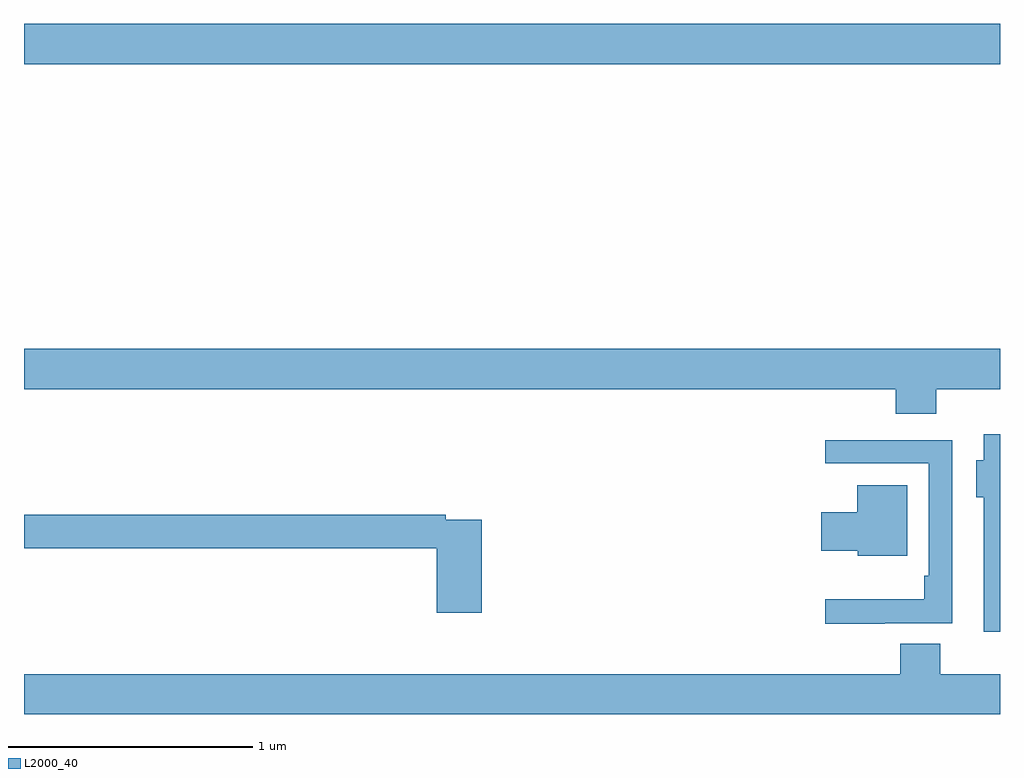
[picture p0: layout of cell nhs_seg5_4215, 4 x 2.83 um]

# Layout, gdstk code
import gdstk
lib = gdstk.Library(unit=1e-6, precision=1e-09)
def R(c, l, rs):  # rectangles x0, y0, x1, y1
    for r in rs: c.add(gdstk.rectangle(r[:2], r[2:], *l))
def P(c, l, *ps):  # polygons
    for p in ps: c.add(gdstk.Polygon(p, *l))
L2000_40 = (2000, 40)

nhs_seg5_4215 = lib.new_cell('nhs_seg5_4215')
R(nhs_seg5_4215, L2000_40, [(359,862.088,363,862.252)])
P(nhs_seg5_4215, L2000_40, [(362.738,860.756),(363,860.756),(363,860.92),(359,860.92),(359,860.756),(362.573,860.756),(362.573,860.654),(362.738,860.654)],
  [(363,860.57),(362.934,860.57),(362.934,860.464),(362.903,860.464),(362.903,860.312),(362.934,860.312),(362.934,859.761),(363,859.761)],
  [(362.527,859.797),(362.805,859.797),(362.805,860.547),(362.283,860.547),(362.283,860.451),(362.709,860.451),(362.709,859.99),(362.689,859.99),(362.689,859.894),(362.283,859.894),(362.283,859.793),(362.527,859.793)],
  [(362.62,860.362),(362.414,860.362),(362.414,860.251),(362.268,860.251),(362.268,860.093),(362.418,860.093),(362.418,860.072),(362.62,860.072)],
  [(360.875,860.22),(360.728,860.22),(360.728,860.24),(359,860.24),(359,860.104),(360.692,860.104),(360.692,859.839),(360.875,859.839)],
  [(363,859.588),(362.756,859.588),(362.756,859.712),(362.591,859.712),(362.591,859.588),(359,859.588),(359,859.424),(363,859.424)])

lib.write_gds('nhs_seg5_4215.gds')
